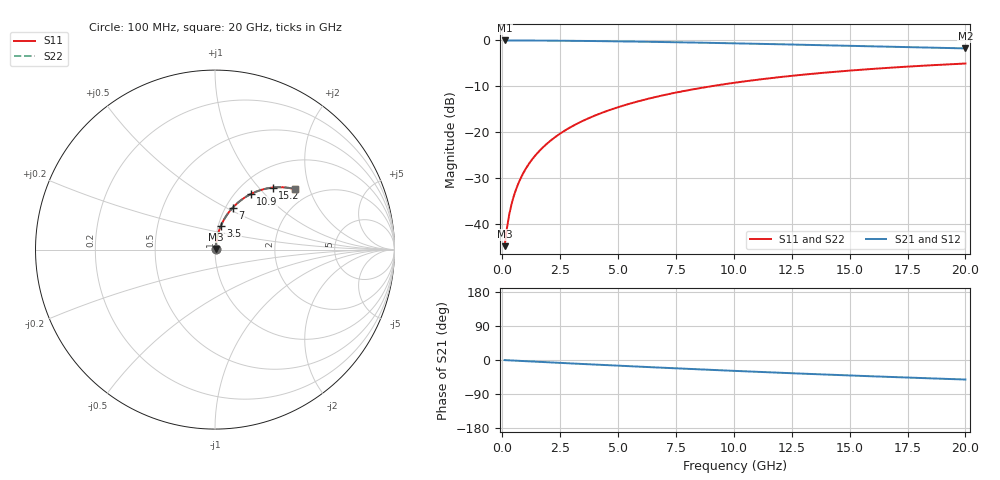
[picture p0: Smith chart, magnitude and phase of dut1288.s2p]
! Touchstone file exported from HFSS 2026.1.0
!  File:  C:/ffzhzh/LocalFiles/Ansys_Project_Files/temp_train_TMRDL_1288_1783164465_18472.aedt
!  Generated:  07:29:10 PM Jul  4, 2026
!  Design:  TMRDL
!  Project:  temp_train_TMRDL_1288_1783164465_18472
! Variables:
!  h_bsmrdl = 2um
!  h_ox = 20um
!  h_rdl = 5um
!  h_sub = 80um
!  h_tmrdl = 5.67um
!  h_tsv = 80um
!  h_via = 3um
!  l_bsmrdl = 300um
!  l_sub = 1116.49um
!  l_tmrdl = 716.49um
!  m_sub = 200um
!  pitch = 51.85um
!  r_tsv = 6um
!  s_tmrdl = 10um
!  w_bsmrdl = 18um
!  w_sub = 500um
!  w_tmrdl = 11.01um
!  x_tsv_center1 = 721.995um
!  x_tsv_center2 = 1039.995um
!  x_tsv_center3 = 1767.495um
!  x_tsv_center4 = 2085.495um
!  x_tsv_center5 = 2812.995um
!  x_tsv_center6 = 3130.995um
# GHz S MA R 50.000000
! Terminal data exported
! Port[1] = TM_RDL1_1_T1
! Port[2] = TM_RDL1_1_T2
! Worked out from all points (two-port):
!   200 points, 100 MHz to 20 GHz, reference 50 ohm
!   highest |S21| = -0.04 dB at 100 MHz (marker M1); lowest = -1.8 dB at 20 GHz (marker M2)
!   |S21| within 3 dB of the highest: start of sweep to end of sweep
!   lowest |S11| = -44.9 dB at 100 MHz (marker M3), VSWR 1.01, Z = 50.4 + j0.401 ohm
!   |S11| at or under -10 dB: start of sweep to 9.039 GHz
!   |S22| runs from -44.9 to -5.1 dB; largest |S21 - S12| = 3.3e-15
!   S11 on the Smith chart (normalised r, x): 100 MHz: 1.01, +0.01; 3.5 GHz: 1.03, +0.27; 7 GHz: 1.08, +0.54; 10.9 GHz: 1.17, +0.84; 15.2 GHz: 1.34, +1.19; 20 GHz: 1.63, +1.60
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0.1  0.005705 44.2  0.9959 -0.3  0.9959 -0.3  0.005705 44.2
! Gamma 0 0 0 0
! Port Impedance 50 0 50 0
0.2  0.008979 61.9  0.9958 -0.6  0.9958 -0.6  0.008979 61.9
0.3  0.01263 69.5  0.9957 -0.9  0.9957 -0.9  0.01263 69.5
0.4  0.01638 73.5  0.9956 -1.2  0.9956 -1.2  0.01638 73.5
0.5  0.02017 75.9  0.9954 -1.6  0.9954 -1.6  0.02017 75.9
0.6  0.02398 77.4  0.9953 -1.9  0.9953 -1.9  0.02398 77.4
0.8  0.03162 79.2  0.9949 -2.5  0.9949 -2.5  0.03162 79.2
1.1  0.04311 80.3  0.9943 -3.4  0.9943 -3.4  0.04311 80.3
1.5  0.05841 80.5  0.9933 -4.6  0.9933 -4.6  0.05841 80.4
2.1  0.08121 79.7  0.9912 -6.4  0.9912 -6.4  0.08121 79.7
2.7  0.1037 78.4  0.9885 -8.2  0.9885 -8.2  0.1037 78.4
3.5  0.1332 76.4  0.9842 -10.6  0.9842 -10.6  0.1332 76.4
5  0.1865 72.4  0.974 -15.0  0.974 -15.0  0.1865 72.4
6.8  0.2469 67.6  0.959 -20.1  0.959 -20.1  0.2469 67.6
7  0.2534 67.1  0.9572 -20.6  0.9572 -20.6  0.2534 67.1
8.5  0.3001 63.2  0.9428 -24.7  0.9428 -24.7  0.3002 63.2
10.1  0.3467 59.1  0.926 -28.9  0.926 -28.9  0.3467 59.1
10.9  0.3687 57.2  0.9173 -30.9  0.9173 -30.9  0.3687 57.1
13.4  0.4316 51.2  0.8891 -37.1  0.8891 -37.1  0.4316 51.2
15.2  0.4716 47.1  0.8685 -41.3  0.8685 -41.3  0.4716 47.1
16.7  0.5017 43.9  0.8516 -44.6  0.8516 -44.6  0.5017 43.8
20  0.5583 37.1  0.8161 -51.5  0.8161 -51.5  0.5583 37.1
